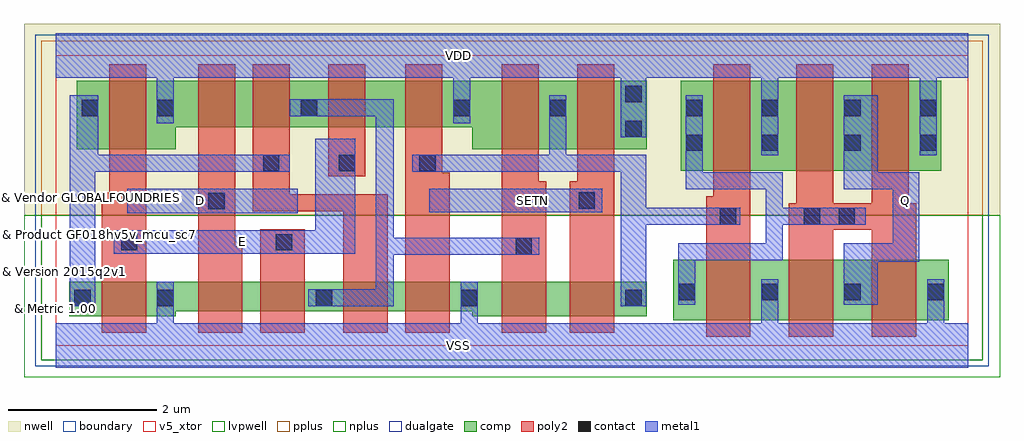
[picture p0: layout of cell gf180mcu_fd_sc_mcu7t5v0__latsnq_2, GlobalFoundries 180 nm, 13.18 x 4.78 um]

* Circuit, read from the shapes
.subckt gf180mcu_fd_sc_mcu7t5v0__latsnq_2 D E Q SETN VDD VSS
XM1 VSS E n1 VSUBS nfet_05v0 w=0.465u l=0.6u
XM2 n2 D VSS VSUBS nfet_05v0 w=0.395u l=0.6u
XM3 n3 E n2 VSUBS nfet_05v0 w=0.395u l=0.6u
XM4 n4 n1 n3 VSUBS nfet_05v0 w=0.395u l=0.6u
XM5 VSS n5 n4 VSUBS nfet_05v0 w=0.395u l=0.6u
XM6 n6 n3 VSS VSUBS nfet_05v0 w=0.465u l=0.6u
XM7 n5 SETN n6 VSUBS nfet_05v0 w=0.465u l=0.6u
XM8 VSS n5 n7 VSUBS nfet_05v0 w=0.82u l=0.6u
XM9 Q n7 VSS VSUBS nfet_05v0 w=0.82u l=0.6u m=2
XM10 VDD E n1 n8 pfet_05v0 w=0.925u l=0.5u
XM11 n9 D VDD n8 pfet_05v0 w=0.63u l=0.5u
XM12 n3 n1 n9 n8 pfet_05v0 w=0.63u l=0.5u
XM13 n10 E n3 n8 pfet_05v0 w=0.63u l=0.5u
XM14 VDD n5 n10 n8 pfet_05v0 w=0.63u l=0.5u
XM15 n5 n3 VDD n8 pfet_05v0 w=0.925u l=0.5u
XM16 VDD SETN n5 n8 pfet_05v0 w=0.925u l=0.5u
XM17 VDD n5 n7 n8 pfet_05v0 w=1.22u l=0.5u
XM18 Q n7 VDD n8 pfet_05v0 w=1.22u l=0.5u m=2
.ends

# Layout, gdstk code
import gdstk
lib = gdstk.Library(unit=1e-6, precision=1e-09)
def R(c, l, rs):  # rectangles x0, y0, x1, y1
    for r in rs: c.add(gdstk.rectangle(r[:2], r[2:], *l))
def A(c, l, x, y, w, h, nx, ny, dx, dy):  # array of equal rectangles
    R(c, l, [(x+i*dx, y+j*dy, x+i*dx+w, y+j*dy+h) for i in range(nx) for j in range(ny)])
def P(c, l, *ps):  # polygons
    for p in ps: c.add(gdstk.Polygon(p, *l))
boundary = (0, 0)
nwell = (21, 0)
comp = (22, 0)
poly2 = (30, 0)
pplus = (31, 0)
nplus = (32, 0)
contact = (33, 0)
metal1 = (34, 0)
dualgate = (55, 0)
v5_xtor = (112, 1)
lvpwell = (204, 0)

gf180mcu_fd_sc_mcu7t5v0_ = lib.new_cell('gf180mcu_fd_sc_mcu7t5v0__latsnq_2')
R(gf180mcu_fd_sc_mcu7t5v0_, boundary, [(0,0,12.32,3.92)])
R(gf180mcu_fd_sc_mcu7t5v0_, nwell, [(-0.43,1.76,12.75,4.35)])
R(gf180mcu_fd_sc_mcu7t5v0_, comp, [(8.34,0.34,12.06,1.16), (8.44,2.36,11.96,3.58)])
P(gf180mcu_fd_sc_mcu7t5v0_, comp, [(0.18,0.395),(0.18,0.86),(7.98,0.86),(7.98,0.395),(5.62,0.395),(5.62,0.465),(1.62,0.465),(1.62,0.395)],
  [(0.28,2.655),(0.28,3.58),(7.98,3.58),(7.98,2.655),(5.62,2.655),(5.62,2.95),(1.62,2.95),(1.62,2.655)])
R(gf180mcu_fd_sc_mcu7t5v0_, poly2, [(2.76,0.175,3.36,1.575), (3.68,2.285,4.18,3.8)])
P(gf180mcu_fd_sc_mcu7t5v0_, poly2, [(0.62,0.175),(0.62,2.065),(0.72,2.065),(0.72,3.8),(1.22,3.8),(1.22,0.175)],
  [(1.92,0.175),(1.92,3.8),(2.42,3.8),(2.42,1.34),(2.52,1.34),(2.52,0.175)],
  [(3.88,0.175),(3.88,1.815),(2.66,1.815),(2.66,3.8),(3.16,3.8),(3.16,2.045),(4.48,2.045),(4.48,0.175)],
  [(4.72,0.175),(4.72,3.8),(5.22,3.8),(5.22,2.335),(5.32,2.335),(5.32,0.175)],
  [(6.02,0.175),(6.02,3.8),(6.52,3.8),(6.52,2.22),(6.62,2.22),(6.62,0.175)],
  [(6.94,0.175),(6.94,2.22),(7.04,2.22),(7.04,3.8),(7.54,3.8),(7.54,0.175)],
  [(8.78,0.12),(8.78,2.02),(8.88,2.02),(8.88,3.8),(9.38,3.8),(9.38,0.12)],
  [(9.9,0.12),(9.9,1.925),(10,1.925),(10,3.8),(10.5,3.8),(10.5,1.925),(11.02,1.925),(11.02,3.8),(11.52,3.8),(11.52,1.925),(11.62,1.925),(11.62,0.12),(11.02,0.12),(11.02,1.565),(10.5,1.565),(10.5,0.12)])
R(gf180mcu_fd_sc_mcu7t5v0_, pplus, [(-0.2,1.76,12.52,4.12)])
R(gf180mcu_fd_sc_mcu7t5v0_, nplus, [(-0.2,-0.2,12.52,1.76)])
A(gf180mcu_fd_sc_mcu7t5v0_, contact, 8.41, 0.615, 0.22, 0.22, 4, 1, 1.12, 0)
R(gf180mcu_fd_sc_mcu7t5v0_, contact, [(0.25,0.535,0.47,0.755), (1.37,0.535,1.59,0.755), (3.51,0.535,3.73,0.755), (5.47,0.535,5.69,0.755), (7.69,0.535,7.91,0.755), (6.21,1.23,6.43,1.45), (0.88,1.285,1.1,1.505), (2.97,1.285,3.19,1.505), (8.965,1.635,9.185,1.855), (10.1,1.635,10.32,1.855), (10.57,1.635,10.79,1.855), (2.06,1.845,2.28,2.065), (7.06,1.85,7.28,2.07), (2.8,2.355,3.02,2.575), (3.82,2.355,4.04,2.575), (4.91,2.355,5.13,2.575), (8.51,2.63,8.73,2.85), (9.53,2.63,9.75,2.85), (10.65,2.63,10.87,2.85), (11.67,2.63,11.89,2.85), (7.69,2.82,7.91,3.04), (0.35,3.1,0.57,3.32), (1.37,3.1,1.59,3.32), (3.31,3.1,3.53,3.32), (5.37,3.1,5.59,3.32), (6.67,3.1,6.89,3.32), (8.51,3.1,8.73,3.32), (9.53,3.1,9.75,3.32), (10.65,3.1,10.87,3.32), (11.67,3.1,11.89,3.32), (7.69,3.29,7.91,3.51)])
R(gf180mcu_fd_sc_mcu7t5v0_, metal1, [(0.965,1.79,3.27,2.12), (5.04,1.8,7.38,2.12)])
P(gf180mcu_fd_sc_mcu7t5v0_, metal1, [(0.19,0.53),(0.19,3.38),(0.575,3.38),(0.575,2.58),(3.16,2.58),(3.16,2.35),(0.53,2.35),(0.53,0.53)],
  [(0.78,1.24),(0.78,1.56),(3.5,1.56),(3.5,2.795),(4.045,2.795),(4.045,1.24)],
  [(3.41,0.53),(3.41,0.76),(4.32,0.76),(4.32,3.095),(3.16,3.095),(3.16,3.325),(4.56,3.325),(4.56,1.455),(6.53,1.455),(6.53,1.225),(4.56,1.225),(4.56,0.53)],
  [(7.63,0.53),(7.63,2.35),(4.81,2.35),(4.81,2.58),(6.665,2.58),(6.665,3.38),(6.895,3.38),(6.895,2.58),(7.97,2.58),(7.97,1.86),(9.245,1.86),(9.245,1.63),(7.97,1.63),(7.97,0.53)],
  [(8.405,0.555),(8.405,1.38),(9.585,1.38),(9.585,2.11),(8.505,2.11),(8.505,3.38),(8.735,3.38),(8.735,2.34),(9.815,2.34),(9.815,1.86),(10.935,1.86),(10.935,1.63),(9.815,1.63),(9.815,1.15),(8.635,1.15),(8.635,0.555)],
  [(10.64,0.555),(10.64,1.38),(11.3,1.38),(11.3,2.11),(10.64,2.11),(10.64,3.38),(11.1,3.38),(11.1,2.34),(11.66,2.34),(11.66,1.13),(11.1,1.13),(11.1,0.555)],
  [(0,-0.3),(0,0.3),(1.365,0.3),(1.365,0.86),(1.595,0.86),(1.595,0.3),(5.465,0.3),(5.465,0.86),(5.695,0.86),(5.695,0.3),(9.525,0.3),(9.525,0.895),(9.755,0.895),(9.755,0.3),(11.765,0.3),(11.765,0.895),(11.995,0.895),(11.995,0.3),(12.32,0.3),(12.32,-0.3)],
  [(9.525,2.57),(9.525,3.62),(7.97,3.62),(7.97,2.815),(7.63,2.815),(7.63,3.62),(5.595,3.62),(5.595,3),(5.365,3),(5.365,3.62),(1.595,3.62),(1.595,3),(1.365,3),(1.365,3.62),(0,3.62),(0,4.22),(12.32,4.22),(12.32,3.62),(11.895,3.62),(11.895,2.57),(11.665,2.57),(11.665,3.62),(9.755,3.62),(9.755,2.57)])
R(gf180mcu_fd_sc_mcu7t5v0_, dualgate, [(-0.28,-0.28,12.6,4.2)])
R(gf180mcu_fd_sc_mcu7t5v0_, v5_xtor, [(0,0,12.32,3.92)])
R(gf180mcu_fd_sc_mcu7t5v0_, lvpwell, [(-0.43,-0.43,12.75,1.76)])
gf180mcu_fd_sc_mcu7t5v0_.add(gdstk.Label('Q', (11.48,1.96), layer=34, texttype=10))
gf180mcu_fd_sc_mcu7t5v0_.add(gdstk.Label('VSS', (5.44,0), layer=34, texttype=10))
gf180mcu_fd_sc_mcu7t5v0_.add(gdstk.Label('SETN', (6.44,1.96), layer=34, texttype=10))
gf180mcu_fd_sc_mcu7t5v0_.add(gdstk.Label('VDD', (5.44,3.92), layer=34, texttype=10))
gf180mcu_fd_sc_mcu7t5v0_.add(gdstk.Label('D', (1.96,1.96), layer=34, texttype=10))
gf180mcu_fd_sc_mcu7t5v0_.add(gdstk.Label('E', (2.52,1.4), layer=34, texttype=10))
gf180mcu_fd_sc_mcu7t5v0_.add(gdstk.Label('& Vendor GLOBALFOUNDRIES', (0,2), layer=63, texttype=63))
gf180mcu_fd_sc_mcu7t5v0_.add(gdstk.Label('& Product GF018hv5v_mcu_sc7', (0,1.5), layer=63, texttype=63))
gf180mcu_fd_sc_mcu7t5v0_.add(gdstk.Label('& Version 2015q2v1', (0,1), layer=63, texttype=63))
gf180mcu_fd_sc_mcu7t5v0_.add(gdstk.Label('& Metric 1.00', (0,0.5), layer=63, texttype=63))

lib.write_gds('gf180mcu_fd_sc_mcu7t5v0__latsnq_2.gds')
